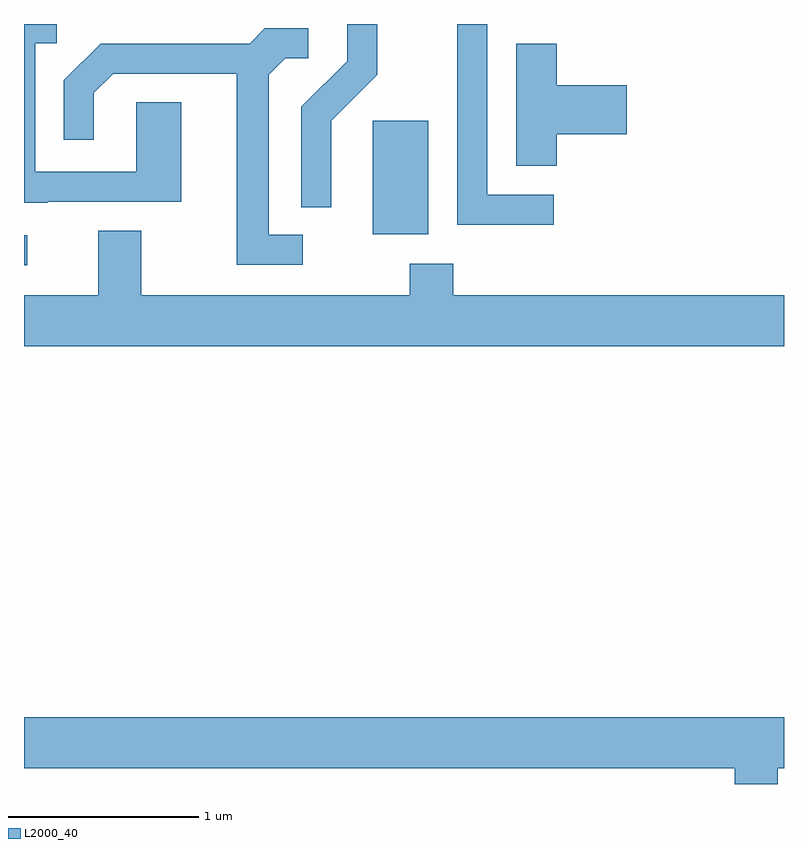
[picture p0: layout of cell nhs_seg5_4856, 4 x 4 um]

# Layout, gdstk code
import gdstk
lib = gdstk.Library(unit=1e-6, precision=1e-09)
def R(c, l, rs):  # rectangles x0, y0, x1, y1
    for r in rs: c.add(gdstk.rectangle(r[:2], r[2:], *l))
def P(c, l, *ps):  # polygons
    for p in ps: c.add(gdstk.Polygon(p, *l))
L2000_40 = (2000, 40)

nhs_seg5_4856 = lib.new_cell('nhs_seg5_4856')
R(nhs_seg5_4856, L2000_40, [(329.611,1432.801,329.628,1432.959), (331.446,1432.966,331.739,1433.564)])
P(nhs_seg5_4856, L2000_40, [(329.735,1433.136),(330.439,1433.136),(330.439,1433.659),(330.201,1433.659),(330.201,1433.294),(329.669,1433.294),(329.669,1433.971),(329.783,1433.971),(329.783,1434.072),(329.611,1434.072),(329.611,1433.131),(329.735,1433.131)],
  [(331.229,1433.564),(331.469,1433.804),(331.469,1434.072),(331.311,1434.072),(331.311,1433.877),(331.071,1433.637),(331.071,1433.108),(331.229,1433.108)],
  [(332.398,1433.174),(332.049,1433.174),(332.049,1434.072),(331.891,1434.072),(331.891,1433.016),(332.398,1433.016)],
  [(331.078,1432.964),(330.899,1432.964),(330.899,1433.804),(330.987,1433.891),(331.108,1433.891),(331.108,1434.049),(330.879,1434.049),(330.799,1433.969),(330.014,1433.969),(329.821,1433.777),(329.821,1433.463),(329.979,1433.463),(329.979,1433.709),(330.082,1433.811),(330.731,1433.811),(330.731,1432.806),(331.078,1432.806)],
  [(332.414,1433.491),(332.784,1433.491),(332.784,1433.749),(332.414,1433.749),(332.414,1433.969),(332.201,1433.969),(332.201,1433.326),(332.414,1433.326)],
  [(333.611,1432.644),(331.869,1432.644),(331.869,1432.809),(331.641,1432.809),(331.641,1432.644),(330.229,1432.644),(330.229,1432.984),(330.001,1432.984),(330.001,1432.644),(329.611,1432.644),(329.611,1432.376),(333.611,1432.376)],
  [(329.611,1430.156),(333.351,1430.156),(333.351,1430.072),(333.579,1430.072),(333.579,1430.156),(333.611,1430.156),(333.611,1430.424),(329.611,1430.424)])

lib.write_gds('nhs_seg5_4856.gds')
